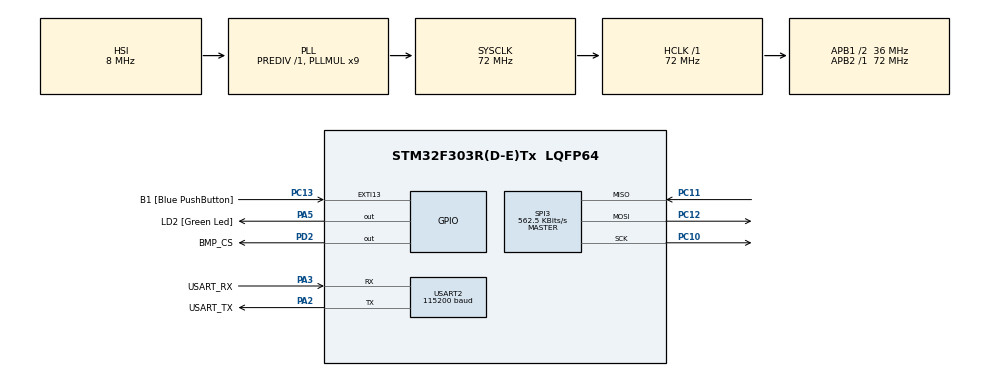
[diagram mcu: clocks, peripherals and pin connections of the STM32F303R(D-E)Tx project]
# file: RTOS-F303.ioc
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Dma.Request0=USART2_RX
Dma.Request1=USART2_TX
Dma.USART2_RX.0.Direction=DMA_PERIPH_TO_MEMORY
Dma.USART2_RX.0.Instance=DMA1_Channel6
Dma.USART2_RX.0.MemDataAlignment=DMA_MDATAALIGN_BYTE
Dma.USART2_RX.0.MemInc=DMA_MINC_ENABLE
Dma.USART2_RX.0.Mode=DMA_NORMAL
Dma.USART2_RX.0.PeriphDataAlignment=DMA_PDATAALIGN_BYTE
Dma.USART2_RX.0.PeriphInc=DMA_PINC_DISABLE
Dma.USART2_RX.0.Priority=DMA_PRIORITY_LOW
Dma.USART2_TX.1.Direction=DMA_MEMORY_TO_PERIPH
Dma.USART2_TX.1.Instance=DMA1_Channel7
Dma.USART2_TX.1.MemDataAlignment=DMA_MDATAALIGN_BYTE
Dma.USART2_TX.1.MemInc=DMA_MINC_ENABLE
Dma.USART2_TX.1.Mode=DMA_NORMAL
Dma.USART2_TX.1.PeriphDataAlignment=DMA_PDATAALIGN_BYTE
Dma.USART2_TX.1.PeriphInc=DMA_PINC_DISABLE
Dma.USART2_TX.1.Priority=DMA_PRIORITY_LOW
FREERTOS.Tasks01=defaultTask,24,128,StartDefaultTask,Default,NULL,Dynamic,NULL,NULL
FREERTOS.configMAX_TASK_NAME_LEN=32
FREERTOS.configTOTAL_HEAP_SIZE=8192
FREERTOS.configUSE_NEWLIB_REENTRANT=1
Mcu.Family=STM32F3
Mcu.Name=STM32F303R(D-E)Tx
Mcu.Package=LQFP64
NVIC.DMA1_Channel6_IRQn=true\:5\:0\:false\:false\:true\:true\:false\:true\:true
NVIC.DMA1_Channel7_IRQn=true\:5\:0\:false\:false\:true\:true\:false\:true\:true
NVIC.PriorityGroup=NVIC_PRIORITYGROUP_4
NVIC.TIM1_UP_TIM16_IRQn=true\:15\:0\:false\:false\:true\:false\:false\:true\:true
NVIC.TimeBase=TIM1_UP_TIM16_IRQn
NVIC.TimeBaseIP=TIM1
NVIC.USART2_IRQn=true\:5\:0\:false\:false\:true\:true\:true\:true\:true
PA13.GPIO_Label=TMS
PA13.Mode=Serial_Wire
PA13.Signal=SYS_JTMS-SWDIO
PA14.GPIO_Label=TCK
PA14.Mode=Serial_Wire
PA14.Signal=SYS_JTCK-SWCLK
PA2.GPIO_Label=USART_TX
PA2.GPIO_Mode=GPIO_MODE_AF_PP
PA2.GPIO_PuPd=GPIO_NOPULL
PA2.GPIO_Speed=GPIO_SPEED_FREQ_LOW
PA2.Mode=Asynchronous
PA2.Signal=USART2_TX
PA3.GPIO_Label=USART_RX
PA3.GPIO_Mode=GPIO_MODE_AF_PP
PA3.GPIO_PuPd=GPIO_NOPULL
PA3.GPIO_Speed=GPIO_SPEED_FREQ_LOW
PA3.Mode=Asynchronous
PA3.Signal=USART2_RX
PA5.GPIO_Label=LD2 [Green Led]
PA5.GPIO_Mode=GPIO_MODE_OUTPUT_PP
PA5.GPIO_PuPd=GPIO_NOPULL
PA5.GPIO_Speed=GPIO_SPEED_FREQ_LOW
PA5.Signal=GPIO_Output
PB3.GPIO_Label=SWO
PB3.Signal=SYS_JTDO-TRACESWO
PC10.Mode=Full_Duplex_Master
PC10.Signal=SPI3_SCK
PC11.Mode=Full_Duplex_Master
PC11.Signal=SPI3_MISO
PC12.Mode=Full_Duplex_Master
PC12.Signal=SPI3_MOSI
PC13.GPIO_Label=B1 [Blue PushButton]
PC13.GPIO_ModeDefaultEXTI=GPIO_MODE_IT_FALLING
PC13.GPIO_PuPd=GPIO_PULLUP
PC13.Signal=GPXTI13
PC14-OSC32_IN.Mode=LSE-External-Oscillator
PC14-OSC32_IN.Signal=RCC_OSC32_IN
PC15-OSC32_OUT.Mode=LSE-External-Oscillator
PC15-OSC32_OUT.Signal=RCC_OSC32_OUT
PD2.GPIO_Label=BMP_CS
PD2.Signal=GPIO_Output
PF0-OSC_IN.Mode=HSE-External-Clock-Source
PF0-OSC_IN.Signal=RCC_OSC_IN
PF1-OSC_OUT.Signal=RCC_OSC_OUT
ProjectManager.HeapSize=0x200
ProjectManager.StackSize=0x400
ProjectManager.TargetToolchain=STM32CubeIDE
RCC.AHBFreq_Value=72000000
RCC.APB1CLKDivider=RCC_HCLK_DIV2
RCC.APB1Freq_Value=36000000
RCC.APB1TimFreq_Value=72000000
RCC.APB2Freq_Value=72000000
RCC.APB2TimFreq_Value=72000000
RCC.CortexFreq_Value=72000000
RCC.HCLKFreq_Value=72000000
RCC.HSE_VALUE=8000000
RCC.HSI_VALUE=8000000
RCC.PLLM=8
RCC.PLLMUL=RCC_PLL_MUL9
RCC.PLLN=336
RCC.PLLP=RCC_PLLP_DIV4
RCC.PLLQ=7
RCC.RCC_PLLsource_Clock_Source_FROM_HSE=RCC_HSE_PREDIV_DIV2
RCC.SYSCLKFreq_VALUE=72000000
RCC.SYSCLKSourceVirtual=RCC_SYSCLKSOURCE_PLLCLK
RCC.USBFreq_Value=72000000
SPI3.BaudRatePrescaler=SPI_BAUDRATEPRESCALER_64
SPI3.CLKPolarity=SPI_POLARITY_LOW
SPI3.CalculateBaudRate=562.5 KBits/s
SPI3.DataSize=SPI_DATASIZE_8BIT
SPI3.Direction=SPI_DIRECTION_2LINES
SPI3.Mode=SPI_MODE_MASTER
SPI3.VirtualType=VM_MASTER
USART2.BaudRate=115200
USART2.VirtualMode-Asynchronous=VM_ASYNC
VP_FREERTOS_VS_CMSIS_V2.Mode=CMSIS_V2
VP_SYS_VS_tim1.Mode=TIM1
board=NUCLEO-F303RE

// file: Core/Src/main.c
/* USER CODE BEGIN Header */
/**
  ******************************************************************************
  * @file           : main.c
  * @brief          : Main program body
  ******************************************************************************
  * @attention
  *
  * Copyright (c) 2024 STMicroelectronics.
  * All rights reserved.
  *
  * This software is licensed under terms that can be found in the LICENSE file
  * in the root directory of this software component.
  * If no LICENSE file comes with this software, it is provided AS-IS.
  *
  ******************************************************************************
  */
/* USER CODE END Header */
#include "main.h"
#include "cmsis_os.h"

/* USER CODE BEGIN Includes */
#include "string.h"
#include "tasks.h"
#include "logger.h"
/* USER CODE END Includes */

SPI_HandleTypeDef hspi3;

UART_HandleTypeDef huart2;
DMA_HandleTypeDef hdma_usart2_rx;
DMA_HandleTypeDef hdma_usart2_tx;

/* Definitions for defaultTask */
osThreadId_t defaultTaskHandle;
const osThreadAttr_t defaultTask_attributes = {
  .name = "defaultTask",
  .stack_size = 128 * 4,
  .priority = (osPriority_t) osPriorityNormal,
};

void SystemClock_Config(void);
static void MX_GPIO_Init(void);
static void MX_DMA_Init(void);
static void MX_USART2_UART_Init(void);
static void MX_SPI3_Init(void);
void StartDefaultTask(void *argument);

/* USER CODE BEGIN 0 */

char uart_buffer[512];

void HAL_UARTEx_RxEventCallback(UART_HandleTypeDef *huart, uint16_t Size){
	uart_buffer[Size] = 0;
	UartReceive();
	UartNotifyTasksFrameReady();
}

void UartReceive(){
	HAL_UART_AbortReceive(&huart2);
	HAL_UARTEx_ReceiveToIdle_DMA(&huart2, (uint8_t*)uart_buffer, 512);
}

void UartNotifyTasksFrameReady(){
	BaseType_t r;
	vTaskNotifyGiveFromISR(uartReceiverTaskHandle, &r);
}

/* USER CODE END 0 */

int main(void)
{

  /* MCU Configuration--------------------------------------------------------*/

  /* Reset of all peripherals, Initializes the Flash interface and the Systick. */
  HAL_Init();

  /* Configure the system clock */
  SystemClock_Config();

  /* Initialize all configured peripherals */
  MX_GPIO_Init();
  MX_DMA_Init();
  MX_USART2_UART_Init();
  MX_SPI3_Init();

  /* Init scheduler */
  osKernelInitialize();

  /* Create the thread(s) */
  /* creation of defaultTask */
  defaultTaskHandle = osThreadNew(StartDefaultTask, NULL, &defaultTask_attributes);

  /* USER CODE BEGIN RTOS_THREADS */
  initializeTasks();
  bmpTaskHandle = osThreadNew(BmpTask, NULL, &bmpTask_attributes);
  uartReceiverTaskHandle = osThreadNew(UartReceiverTask, NULL, &uartReceiverTask_attributes);
  blinkTaskHandle = osThreadNew(BlinkTask, NULL, &blinkTask_attributes);
  buttonTaskHandle = osThreadNew(ButtonTask, NULL, &buttonTask_attributes);
  uartSenderTaskHandle = osThreadNew(UartSenderTask, NULL, &uartSenderTask_attributes);
  /* USER CODE END RTOS_THREADS */

  /* USER CODE BEGIN RTOS_EVENTS */
  UartReceive();
  /* USER CODE END RTOS_EVENTS */

  /* Start scheduler */
  osKernelStart();

  /* We should never get here as control is now taken by the scheduler */

  /* Infinite loop */
  while (1)
  {

  }
}

void SystemClock_Config(void)
{
  RCC_OscInitTypeDef RCC_OscInitStruct = {0};
  RCC_ClkInitTypeDef RCC_ClkInitStruct = {0};
  RCC_PeriphCLKInitTypeDef PeriphClkInit = {0};

  /** Initializes the RCC Oscillators according to the specified parameters
  * in the RCC_OscInitTypeDef structure.
  */
  RCC_OscInitStruct.OscillatorType = RCC_OSCILLATORTYPE_HSI;
  RCC_OscInitStruct.HSIState = RCC_HSI_ON;
  RCC_OscInitStruct.HSICalibrationValue = RCC_HSICALIBRATION_DEFAULT;
  RCC_OscInitStruct.PLL.PLLState = RCC_PLL_ON;
  RCC_OscInitStruct.PLL.PLLSource = RCC_PLLSOURCE_HSI;
  RCC_OscInitStruct.PLL.PLLMUL = RCC_PLL_MUL9;
  RCC_OscInitStruct.PLL.PREDIV = RCC_PREDIV_DIV1;
  if (HAL_RCC_OscConfig(&RCC_OscInitStruct) != HAL_OK)
  {
    Error_Handler();
  }

  /** Initializes the CPU, AHB and APB buses clocks
  */
  RCC_ClkInitStruct.ClockType = RCC_CLOCKTYPE_HCLK|RCC_CLOCKTYPE_SYSCLK
                              |RCC_CLOCKTYPE_PCLK1|RCC_CLOCKTYPE_PCLK2;
  RCC_ClkInitStruct.SYSCLKSource = RCC_SYSCLKSOURCE_PLLCLK;
  RCC_ClkInitStruct.AHBCLKDivider = RCC_SYSCLK_DIV1;
  RCC_ClkInitStruct.APB1CLKDivider = RCC_HCLK_DIV2;
  RCC_ClkInitStruct.APB2CLKDivider = RCC_HCLK_DIV1;

  if (HAL_RCC_ClockConfig(&RCC_ClkInitStruct, FLASH_LATENCY_2) != HAL_OK)
  {
    Error_Handler();
  }
  PeriphClkInit.PeriphClockSelection = RCC_PERIPHCLK_USART2;
  PeriphClkInit.Usart2ClockSelection = RCC_USART2CLKSOURCE_PCLK1;
  if (HAL_RCCEx_PeriphCLKConfig(&PeriphClkInit) != HAL_OK)
  {
    Error_Handler();
  }
}

static void MX_SPI3_Init(void)
{

  /* SPI3 parameter configuration*/
  hspi3.Instance = SPI3;
  hspi3.Init.Mode = SPI_MODE_MASTER;
  hspi3.Init.Direction = SPI_DIRECTION_2LINES;
  hspi3.Init.DataSize = SPI_DATASIZE_8BIT;
  hspi3.Init.CLKPolarity = SPI_POLARITY_LOW;
  hspi3.Init.CLKPhase = SPI_PHASE_1EDGE;
  hspi3.Init.NSS = SPI_NSS_SOFT;
  hspi3.Init.BaudRatePrescaler = SPI_BAUDRATEPRESCALER_64;
  hspi3.Init.FirstBit = SPI_FIRSTBIT_MSB;
  hspi3.Init.TIMode = SPI_TIMODE_DISABLE;
  hspi3.Init.CRCCalculation = SPI_CRCCALCULATION_DISABLE;
  hspi3.Init.CRCPolynomial = 7;
  hspi3.Init.CRCLength = SPI_CRC_LENGTH_DATASIZE;
  hspi3.Init.NSSPMode = SPI_NSS_PULSE_ENABLE;
  if (HAL_SPI_Init(&hspi3) != HAL_OK)
  {
    Error_Handler();
  }

}

static void MX_USART2_UART_Init(void)
{

  huart2.Instance = USART2;
  huart2.Init.BaudRate = 115200;
  huart2.Init.WordLength = UART_WORDLENGTH_8B;
  huart2.Init.StopBits = UART_STOPBITS_1;
  huart2.Init.Parity = UART_PARITY_NONE;
  huart2.Init.Mode = UART_MODE_TX_RX;
  huart2.Init.HwFlowCtl = UART_HWCONTROL_NONE;
  huart2.Init.OverSampling = UART_OVERSAMPLING_16;
  huart2.Init.OneBitSampling = UART_ONE_BIT_SAMPLE_DISABLE;
  huart2.AdvancedInit.AdvFeatureInit = UART_ADVFEATURE_NO_INIT;
  if (HAL_UART_Init(&huart2) != HAL_OK)
  {
    Error_Handler();
  }

}

static void MX_DMA_Init(void)
{

  /* DMA controller clock enable */
  __HAL_RCC_DMA1_CLK_ENABLE();

  /* DMA interrupt init */
  /* DMA1_Channel6_IRQn interrupt configuration */
  HAL_NVIC_SetPriority(DMA1_Channel6_IRQn, 5, 0);
  HAL_NVIC_EnableIRQ(DMA1_Channel6_IRQn);
  /* DMA1_Channel7_IRQn interrupt configuration */
  HAL_NVIC_SetPriority(DMA1_Channel7_IRQn, 5, 0);
  HAL_NVIC_EnableIRQ(DMA1_Channel7_IRQn);

}

static void MX_GPIO_Init(void)
{
  GPIO_InitTypeDef GPIO_InitStruct = {0};

  /* GPIO Ports Clock Enable */
  __HAL_RCC_GPIOC_CLK_ENABLE();
  __HAL_RCC_GPIOF_CLK_ENABLE();
  __HAL_RCC_GPIOA_CLK_ENABLE();
  __HAL_RCC_GPIOD_CLK_ENABLE();
  __HAL_RCC_GPIOB_CLK_ENABLE();

  /*Configure GPIO pin Output Level */
  HAL_GPIO_WritePin(LD2_GPIO_Port, LD2_Pin, GPIO_PIN_RESET);

  /*Configure GPIO pin Output Level */
  HAL_GPIO_WritePin(BMP_CS_GPIO_Port, BMP_CS_Pin, GPIO_PIN_RESET);

  /*Configure GPIO pin : B1_Pin */
  GPIO_InitStruct.Pin = B1_Pin;
  GPIO_InitStruct.Mode = GPIO_MODE_IT_FALLING;
  GPIO_InitStruct.Pull = GPIO_PULLUP;
  HAL_GPIO_Init(B1_GPIO_Port, &GPIO_InitStruct);

  /*Configure GPIO pin : LD2_Pin */
  GPIO_InitStruct.Pin = LD2_Pin;
  GPIO_InitStruct.Mode = GPIO_MODE_OUTPUT_PP;
  GPIO_InitStruct.Pull = GPIO_NOPULL;
  GPIO_InitStruct.Speed = GPIO_SPEED_FREQ_LOW;
  HAL_GPIO_Init(LD2_GPIO_Port, &GPIO_InitStruct);

  /*Configure GPIO pin : BMP_CS_Pin */
  GPIO_InitStruct.Pin = BMP_CS_Pin;
  GPIO_InitStruct.Mode = GPIO_MODE_OUTPUT_PP;
  GPIO_InitStruct.Pull = GPIO_NOPULL;
  GPIO_InitStruct.Speed = GPIO_SPEED_FREQ_LOW;
  HAL_GPIO_Init(BMP_CS_GPIO_Port, &GPIO_InitStruct);

}

void StartDefaultTask(void *argument)
{
  for(;;)
  {
    osDelay(1);
  }
}

void HAL_TIM_PeriodElapsedCallback(TIM_HandleTypeDef *htim)
{
  if (htim->Instance == TIM1) {
    HAL_IncTick();
  }
}

void Error_Handler(void)
{
  __disable_irq();
  while (1)
  {
  }
}
